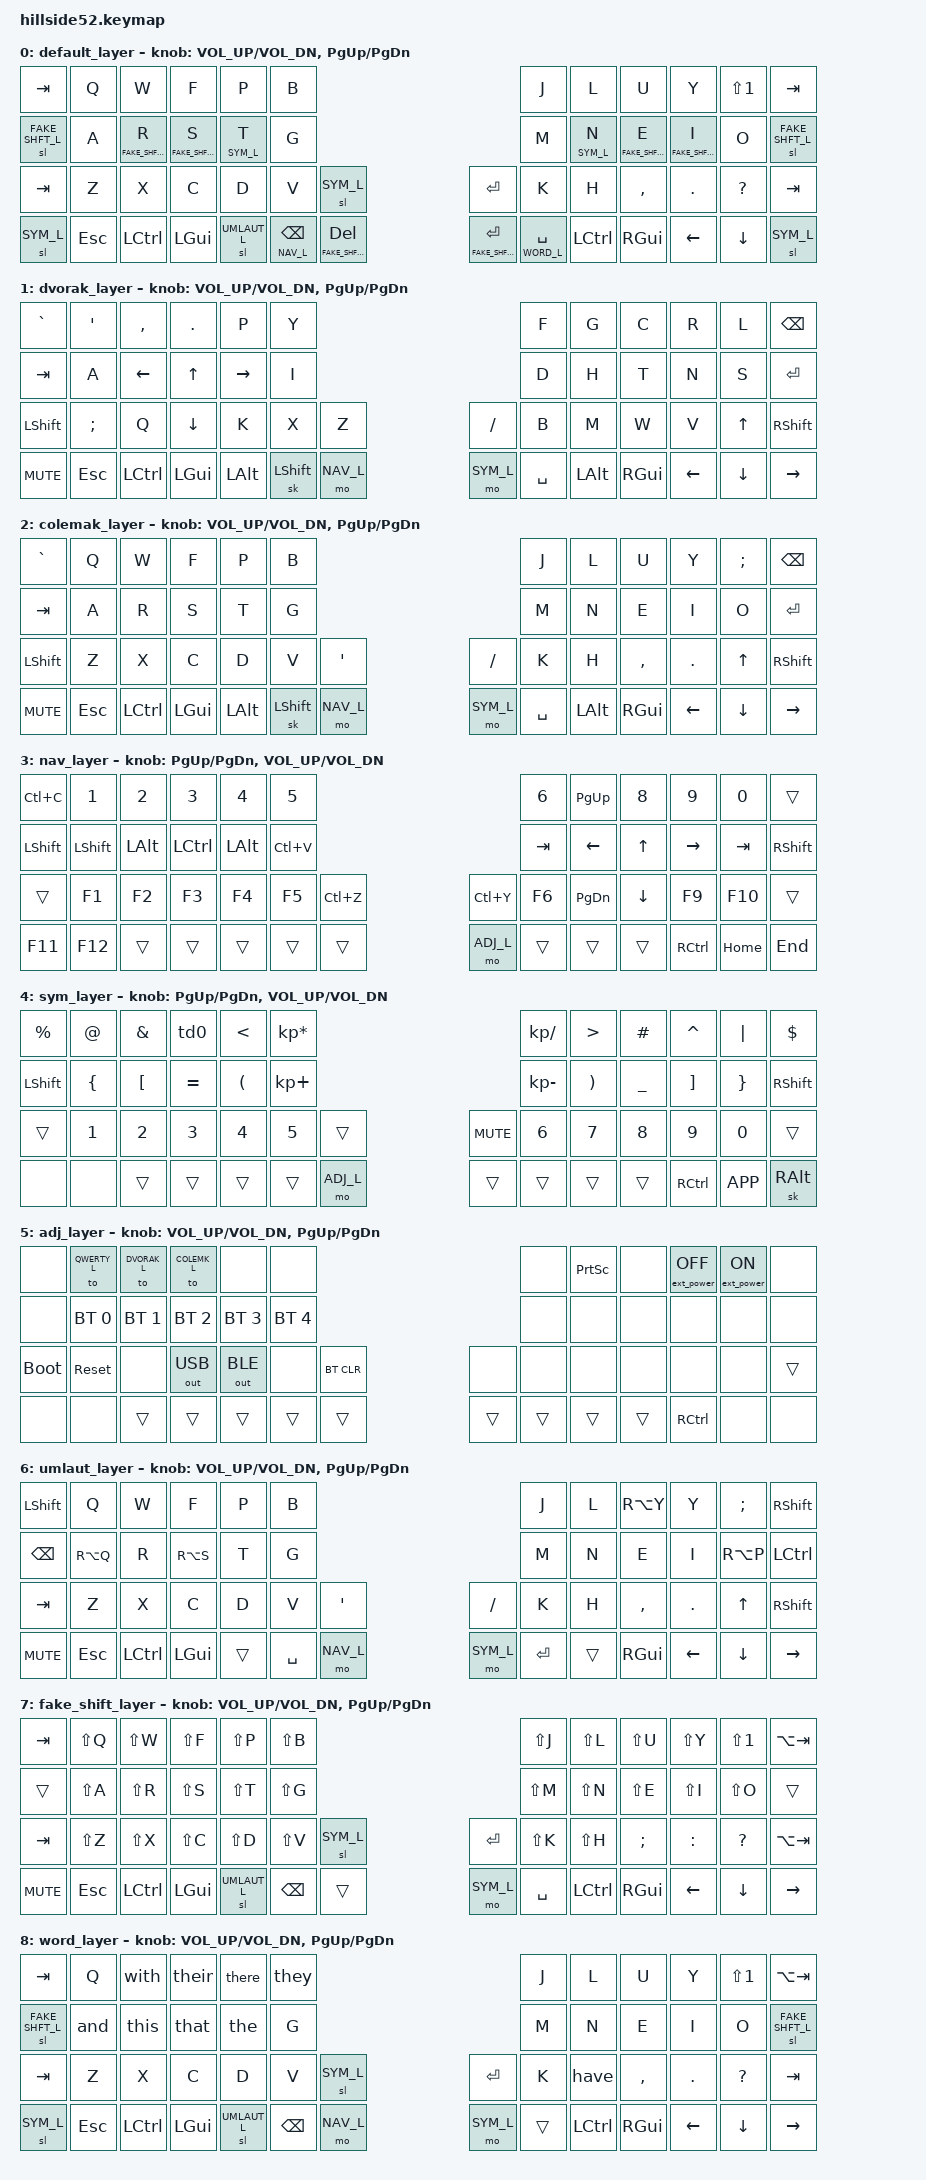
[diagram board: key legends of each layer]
/*
 * Copyright (c) 2021-2022 The ZMK Contributors
 *
 * SPDX-License-Identifier: MIT
 */

#include <behaviors.dtsi>
#include <dt-bindings/zmk/bt.h>
#include <dt-bindings/zmk/ext_power.h>
#include <dt-bindings/zmk/keys.h>
#include <dt-bindings/zmk/outputs.h>

#define QWERTY_L 0
#define DVORAK_L 1
#define COLEMK_L 2
#define NAV_L    3
#define SYM_L    4
#define ADJ_L    5
#define UMLAUT_L 6
#define FAKE_SHFT_L 7
#define WORD_L 8

#define Undo   LC(Z)
#define Cut    LC(X)
#define Copy   LC(C)
#define Paste  LC(V)
#define Redo   LC(Y)


/ {	
	behaviors {
          td0: tap_dance_0 {
            compatible = "zmk,behavior-tap-dance";
            label = "TAP_DANCE_0";
            #binding-cells = <0>;
            tapping-term-ms = <300>;
            bindings = <&kp RA(SQT)>, <&kp LS(RA(SQT))>;
        
        };
        
        lrt: lrt {
        compatible = "zmk,behavior-hold-tap";
        label = "LAYER_RETRO_TAP";
        #binding-cells = <2>;
        flavor = "tap-preferred";
        tapping-term-ms = <200>;
        retro-tap;
        bindings = <&mo>, <&kp>;  // &mo on hold, &kp on tap
    };
        
/*          pht: positional_hold_tap {
            compatible = "zmk,behavior-hold-tap";
            label = "POSITIONAL_HOLD_TAP";
            #binding-cells = <2>;
            flavor = "hold-preferred";
            tapping-term-ms = <400>;
            quick-tap-ms = <200>;
            bindings = <&kp>, <&kp>, <&kp>, <&kp>;
            hold-trigger-key-positions = <19>, <20>, <8>;    // <---[[M N L]]
        };
  */
    };
/*
	combos {
        	compatible = "zmk,combos";
        	combo_copy {
            	timeout-ms = <1000>;
            	key-positions = <14 15 16>;
            	bindings = <&kp LC(C)>;
        	};
        	
        	compatible = "zmk,combos";
        	combo_paste {
            	timeout-ms = <100>;
            	key-positions = <19 20 21>;
            	bindings = <&kp LC(V)>;
        	};
        	
        	compatible = "zmk,combos";
        	combo_undo {
            	timeout-ms = <100>;
            	key-positions = <2 3 4>;
            	bindings = <&kp LC(Z)>;
        	};
    	};
    	*/
    	
	macros {
		zed_em_kay: zed_em_kay {
		    label = "ZM_zed_em_kay";
		    compatible = "zmk,behavior-macro";
		    #binding-cells = <0>;
		    bindings
		        = <&macro_press &kp LSHFT>
		        , <&macro_tap &kp Z &kp M &kp K>
		        , <&macro_release &kp LSHFT>
		        ;
		};
		
		the: the {
		    label = "the";
		    compatible = "zmk,behavior-macro";
		    #binding-cells = <0>;
		    bindings
		        = <&macro_tap &kp T &kp H &kp E>
		        ;
		};
		
		of: of {
		    label = "of";
		    compatible = "zmk,behavior-macro";
		    #binding-cells = <0>;
		    bindings
		        = <&macro_tap &kp O &kp F>
		        ;
		};
		
		in: in {
		    label = "in";
		    compatible = "zmk,behavior-macro";
		    #binding-cells = <0>;
		    bindings
		        = <&macro_tap &kp I &kp N>
		        ;
		};
		
		and: and {
		    label = "and";
		    compatible = "zmk,behavior-macro";
		    #binding-cells = <0>;
		    bindings
		        = <&macro_tap &kp A &kp N &kp D>
		        ;
		};
		
		that: that {
		    label = "that";
		    compatible = "zmk,behavior-macro";
		    #binding-cells = <0>;
		    bindings
		        = <&macro_tap &kp T &kp H &kp A &kp T>
		        ;
		};
		
		this: this {
		    label = "this";
		    compatible = "zmk,behavior-macro";
		    #binding-cells = <0>;
		    bindings
		        = <&macro_tap &kp T &kp H &kp I &kp S>
		        ;
		};
		
		there: there {
		    label = "there";
		    compatible = "zmk,behavior-macro";
		    #binding-cells = <0>;
		    bindings
		        = <&macro_tap &kp T &kp H &kp E &kp R &kp E>
		        ;
		};
		
		their: their {
		    label = "their";
		    compatible = "zmk,behavior-macro";
		    #binding-cells = <0>;
		    bindings
		        = <&macro_tap &kp T &kp H &kp E &kp I &kp R>
		        ;
		};
		
		they: they {
		    label = "they";
		    compatible = "zmk,behavior-macro";
		    #binding-cells = <0>;
		    bindings
		        = <&macro_tap &kp T &kp H &kp E &kp Y>
		        ;
		};
		
		with: with {
		    label = "with";
		    compatible = "zmk,behavior-macro";
		    #binding-cells = <0>;
		    bindings
		        = <&macro_tap &kp W &kp I &kp T &kp H>
		        ;
		};
		
		have: have {
		    label = "have";
		    compatible = "zmk,behavior-macro";
		    #binding-cells = <0>;
		    bindings
		        = <&macro_tap &kp H &kp A &kp V &kp E>
		        ;
		};
		
		m_LPAR: m_LPAR {
		    label = "ZM_m_LPAR";
		    compatible = "zmk,behavior-macro";
		    #binding-cells = <0>;
		    bindings
		        = <&macro_press &kp LSHFT>
		        , <&macro_tap &kp N8>
		        , <&macro_release &kp LSHFT>
		        ;
		};
		
	       };
	               
        keymap {
                compatible = "zmk,keymap";

                default_layer {
/* MODIFIED colemak-DH
 * -------------------------------------------------------------------------------------------------------------------------------------
 * | TAB   |   Q   |   W   |   F   |   P   |   B   |-----------------------------------|   J   |   L   |   U   |   Y   |   ;   | AltTab|
 * | SHIFT |   A   |   R   |   S   |   T   |   G   |-----------------------------------|   M   |   N   |   E   |   I   |   O   | SHIFT |
 * | TAB   |   Z   |   X   |   C   |   D   |   V   | SYM   |-------------------| ENTER |   K   |   H   |   ,   |   .   |   ?   | AltTab|
 * | Mute  |  ESC  | CTRL  |-------|  GUI  |UMLAUT |BKSPC  |  Nav  |---|  Sym  | SPACE | LCTRL |  GUI  |-------| Left  | Down  | Right |
 */
                        bindings = <
&kp TAB    &kp  Q        &kp  W        &kp  F        &kp  P        &kp  B                                                                         &kp  J        &kp  L        &kp  U        &kp  Y        &kp  LS(N1)        &kp TAB
&sl  FAKE_SHFT_L     &kp  A        &lrt FAKE_SHFT_L R        &lrt FAKE_SHFT_L  S        &lrt SYM_L T        &kp  G                                                                         &kp  M        &lrt SYM_L N        &lrt FAKE_SHFT_L  E        &lrt FAKE_SHFT_L I        &kp  O        &sl  FAKE_SHFT_L
&kp  TAB      &kp  Z        &kp  X        &kp  C        &kp  D        &kp  V        &sl  SYM_L                                          &kp  ENTER    &kp  K        &kp  H        &kp  COMMA    &kp  DOT      &kp  QMARK       &kp  TAB
&sl SYM_L   &kp  ESC      &kp  LCTRL                  &kp  LGUI     &sl  UMLAUT_L     &lt NAV_L BSPC    &lt FAKE_SHFT_L DEL            &lrt FAKE_SHFT_L ENTER    &lt WORD_L  SPACE    &kp LCTRL    &kp  RGUI                   &kp  LEFT     &kp  DOWN     &sl SYM_L
                        >;
			
                        sensor-bindings = <&inc_dec_kp C_VOL_UP C_VOL_DN &inc_dec_kp PG_UP PG_DN>;
                };
		
                dvorak_layer {
/* DVORAK
 * -------------------------------------------------------------------------------------------------------------------------------------
 * | `     |   '   |   ,   |   .   |   P   |   Y   |-----------------------------------|   F   |   G   |   C   |   R   |   L   | BKSPC |
 * | TAB   |   A   |   O   |   E   |   U   |   I   |-----------------------------------|   D   |   H   |   T   |   N   |   S   | ENTER |
 * | SHIFT |   ;   |   Q   |   J   |   K   |   X   |   Z   |-------------------|   /   |   B   |   M   |   W   |   V   |  Up   | SHIFT |
 * | Mute  |  ESC  | CTRL  |-------|  GUI  |  ALT  |SK SHFT|  Nav  |---|  Sym  | SPACE |  ALT  |  GUI  |-------| Left  | Down  | Right |
 */
                        bindings = <
&kp  GRAVE    &kp  SQT      &kp  COMMA    &kp  DOT      &kp  P        &kp  Y                                                                         &kp  F        &kp  G        &kp  C        &kp  R        &kp  L        &kp  BSPC
&kp  TAB      &kp  A        &kp  LEFT     &kp  UP       &kp  RIGHT    &kp  I                                                                         &kp  D        &kp  H        &kp  T        &kp  N        &kp  S        &kp  ENTER
&kp  LSHFT    &kp  SEMI     &kp  Q        &kp  DOWN     &kp  K        &kp  X        &kp  Z                                             &kp  SLASH    &kp  B        &kp  M        &kp  W        &kp  V        &kp  UP       &kp  RSHFT
&kp  C_MUTE   &kp  ESC      &kp  LCTRL                  &kp  LGUI     &kp  LALT     &sk  LSHIFT    &mo  NAV_L            &mo  SYM_L    &kp  SPACE    &kp  LALT     &kp  RGUI                   &kp  LEFT     &kp  DOWN     &kp  RIGHT
                        >;
			
                        sensor-bindings = <&inc_dec_kp C_VOL_UP C_VOL_DN &inc_dec_kp PG_UP PG_DN>;
                };
		
                colemak_layer {
/* COLEMAK-DH
 * -------------------------------------------------------------------------------------------------------------------------------------
 * | `     |   Q   |   W   |   F   |   P   |   B   |-----------------------------------|   J   |   L   |   U   |   Y   |   ;   | BKSPC |
 * | TAB   |   A   |   R   |   S   |   T   |   G   |-----------------------------------|   M   |   N   |   E   |   I   |   O   | ENTER |
 * | SHIFT |   Z   |   X   |   C   |   D   |   V   |   '   |-------------------|   /   |   K   |   H   |   ,   |   .   |  Up   | SHIFT |
 * | Mute  |  ESC  | CTRL  |-------|  GUI  |  ALT  |SK SHFT|  Nav  |---|  Sym  | SPACE |  ALT  |  GUI  |-------| Left  | Down  | Right |
 */
                        bindings = <
&kp  GRAVE    &kp  Q        &kp  W        &kp  F        &kp  P        &kp  B                                                                         &kp  J        &kp  L        &kp  U        &kp  Y        &kp  SEMI     &kp  BSPC
&kp  TAB      &kp  A        &kp  R        &kp  S        &kp  T        &kp  G                                                                         &kp  M        &kp  N        &kp  E        &kp  I        &kp  O        &kp  ENTER
&kp  LSHFT    &kp  Z        &kp  X        &kp  C        &kp  D        &kp  V        &kp  SQT                                           &kp  SLASH    &kp  K        &kp  H        &kp  COMMA    &kp  DOT      &kp  UP       &kp  RSHFT
&kp  C_MUTE   &kp  ESC      &kp  LCTRL                  &kp  LGUI     &kp  LALT     &sk  LSHIFT     &mo  NAV_L           &mo  SYM_L    &kp  SPACE    &kp  LALT     &kp  RGUI                   &kp  LEFT     &kp  DOWN     &kp  RIGHT
                        >;
			
                        sensor-bindings = <&inc_dec_kp C_VOL_UP C_VOL_DN &inc_dec_kp PG_UP PG_DN>;
                };

                nav_layer {
/* NAV
 * -------------------------------------------------------------------------------------------------------------------------------------
 * | Copy  |   1   |   2   |   3   |   4   |   5   |-----------------------------------|   6   |   7   |   8   |   9   |   0   | BSPC  |
 * | SHFT  | Shift |  Alt  | Ctrl  | Shift | Paste |-----------------------------------| PG UP |  Left |  Up   | RIGHT | SHFT  | SHFT  |
 * | Shift |  F1   |  F2   |  F3   |  F4   |  F5   |  UnDo |-------------------| ReDo  |  F6   |  F7   |  DOWN |  F9   |  F10  | Shift |
 * | F11   |  F12  |       |-------|       |       |       |       |---| ADJ_L |       |       |       |-------| CTRL  | HOME  |  END  |
 */
                        bindings = <
&kp  Copy     &kp  N1       &kp  N2       &kp  N3       &kp  N4       &kp  N5                                                                        &kp   N6      &kp  PG_UP      &kp   N8      &kp   N9      &kp  N0       &trans
&kp  LSHFT      &kp  LSHFT    &kp  LALT     &kp  LCTRL    &kp  LALT    &kp  Paste                                                                     &kp   TAB   &kp  LEFT    &kp   UP      &kp   RIGHT    &kp  TAB    &kp RSHFT
&trans        &kp  F1       &kp  F2       &kp  F3       &kp  F4       &kp  F5       &kp Undo                                           &kp  Redo     &kp   F6      &kp  PG_DN      &kp   DOWN      &kp   F9      &kp  F10      &trans
&kp  F11      &kp  F12      &trans                      &trans        &trans        &trans        &trans                 &mo ADJ_L     &trans        &trans        &trans                     &kp  RCTRL    &kp  HOME     &kp  END
                        >;
			
                        sensor-bindings = <&inc_dec_kp PG_UP PG_DN &inc_dec_kp C_VOL_UP C_VOL_DN>;
                };

                sym_layer {
/* SYM
 * -------------------------------------------------------------------------------------------------------------------------------------
 * | SHIFT |   @   |   &   |   '   |   <   |   *   |-----------------------------------|   /   |   >   |   #   |  ^    |   |   | DELETE|
 * | CAPS  |   {   |   [   |   =   |   (   |   +   |-----------------------------------| -     | )     | _     |  ]    |   }   | $     |
 * | TAB   |   1   |   2   |   3   |   4   |   5   | Play  |-------------------| Mute  | 6     |  7    |  8    |  9    |   0   | SHIFT |
 * |       |       |       |-------|       |       |       |  ADJ_L |---|      |       |       |       |-------| CTRL  | MENU  |SkAltGr|
 */
                        bindings = <
&kp PERCENT      &kp  AT    &kp  AMPS   &td0 &kp LT &kp  KP_MULTIPLY                                                                     &kp  KP_SLASH    &kp GT &kp  HASH    &kp  CARET    &kp  PIPE     &kp  DOLLAR
&kp LSHFT    &kp  LBRC    &kp  LBKT    &kp  EQUAL    &kp  LPAR    &kp  KP_PLUS                                                                   &kp KP_MINUS  &kp  RPAR    &kp  UNDER    &kp  RBKT   &kp  RBRC     &kp RSHFT
&trans        &kp  N1     &kp  N2     &kp  N3     &kp  N4     &kp  N5     &trans                                          &kp C_MUTE    &kp N6  &kp  N7       &kp  N8       &kp  N9     &kp N0         &trans
&none         &none         &trans                      &trans        &trans        &trans        &mo  ADJ_L               &trans      &trans        &trans        &trans                      &kp  RCTRL    &kp  K_APP    &sk  RALT
                        >;
			
                        sensor-bindings = <&inc_dec_kp PG_UP PG_DN &inc_dec_kp C_VOL_UP C_VOL_DN>;
                };
		

                adj_layer {
/* ADJUST
 * -------------------------------------------------------------------------------------------------------------------------------------
 * |       | QWERTY| DVORAK| COLEMK|       |       |-----------------------------------|       |Prt Scr|       | EP_OFF| EP_ON |       |
 * |       | BT 0  | BT 1  | BT 2  | BT 3  | BT 4  |-----------------------------------|       |       |       |       |       |       |
 * | BOOTL | RESET |       |OUT_USB|OUT_BLE|       |BT CLR |-------------------|       |       |       |       |       |       | SHIFT |
 * ----------------|       |-------|       |       |       |       |---|       |       |       |       |-------| CTRL  |----------------
 */
                        bindings = <
&none         &to  QWERTY_L &to  DVORAK_L &to  COLEMK_L &none         &none                                                                             &none             &kp PRINTSCREEN    &none         &ext_power EP_OFF  &ext_power EP_ON &none
&none         &bt  BT_SEL 0 &bt  BT_SEL 1 &bt  BT_SEL 2 &bt  BT_SEL 3 &bt  BT_SEL 4                                                                     &none             &none              &none            &none           &none            &none
&bootloader   &sys_reset    &none         &out OUT_USB  &out OUT_BLE  &none         &bt BT_CLR                                         &none            &none             &none              &none            &none           &none            &trans
&none         &none         &trans                      &trans        &trans        &trans        &trans                 &trans        &trans           &trans            &trans                              &kp  RCTRL      &none            &none
                        >;
			
                        sensor-bindings = <&inc_dec_kp C_VOL_UP C_VOL_DN &inc_dec_kp PG_UP PG_DN>;
                };
                
                umlaut_layer {
/* MODIFIED colemak-DH
 * -------------------------------------------------------------------------------------------------------------------------------------
 * | SHIFT |   Q   |   W   |   F   |   P   |   B   |-----------------------------------|   J   |   L   |   Ü   |   Y   |   ;   | SHIFT 
 * | BKSPC |   Ä   |   R   |   S   |   T   |   G   |-----------------------------------|   M   |   N   |   E   |   I   |   Ö   | LCTRL |
 * | TAB   |   Z   |   X   |   C   |   D   |   V   |   '   |-------------------|   /   |   K   |   H   |   ,   |   .   |  Up   | SHIFT |
 * | Mute  |  ESC  | CTRL  |-------|  GUI  |  ALT  |SPACE  |  Nav  |---|  Sym  | ENTER |  ALT  |  GUI  |-------| Left  | Down  | Right |
 */
                        bindings = <
&kp  LSHFT    &kp  Q        &kp  W        &kp  F        &kp  P        &kp  B                                                                         &kp  J        &kp  L        &kp  RA(Y)        &kp  Y        &kp  SEMI        &kp  RSHFT
&kp  BSPC     &kp  RA(Q)        &kp  R        &kp  RA(S)        &kp  T        &kp  G                                                                         &kp  M        &kp  N        &kp  E        &kp  I        &kp  RA(P)        &kp  LCTRL
&kp  TAB      &kp  Z        &kp  X        &kp  C        &kp  D        &kp  V        &kp  SQT                                           &kp  SLASH    &kp  K        &kp  H        &kp  COMMA    &kp  DOT      &kp  UP       &kp  RSHFT
&kp  C_MUTE   &kp  ESC      &kp  LCTRL                  &kp  LGUI     &trans     &kp  SPACE    &mo  NAV_L            &mo  SYM_L    &kp  ENTER    &trans     &kp  RGUI                   &kp  LEFT     &kp  DOWN     &kp  RIGHT
                        >;
			
                        sensor-bindings = <&inc_dec_kp C_VOL_UP C_VOL_DN &inc_dec_kp PG_UP PG_DN>;
                };
                
                fake_shift_layer {
/* MODIFIED colemak-DH
 * -------------------------------------------------------------------------------------------------------------------------------------
 * | TAB   |   Q   |   W   |   F   |   P   |   B   |-----------------------------------|   J   |   L   |   U   |   Y   |   !   | SHIFT |
 * | SHIFT |   A   |   R   |   S   |   T   |   G   |-----------------------------------|   M   |   N   |   E   |   I   |   O   | SHIFT |
 * | TAB   |   Z   |   X   |   C   |   D   |   V   | SYM   |-------------------| ENTER |   K   |   H   |   ;   |   :   |   ?   | SHIFT |
 * | Mute  |  ESC  | CTRL  |-------|  GUI  |UMLAUT |BKSPC  |  Nav  |---|  Sym  | SPACE | LCTRL |  GUI  |-------| Left  | Down  | Right |
 */
                        bindings = <
&kp TAB    &kp  LS(Q)        &kp  LS(W)        &kp  LS(F)        &kp  LS(P)        &kp  LS(B)                                                                         &kp  LS(J)        &kp  LS(L)        &kp  LS(U)        &kp  LS(Y)        &kp  LS(N1)        &kp  LA(TAB)
&trans     &kp  LS(A)        &kp  LS(R)        &kp  LS(S)        &kp  LS(T)        &kp  LS(G)                                                                         &kp  LS(M)        &kp  LS(N)        &kp  LS(E)        &kp  LS(I)        &kp  LS(O)        &trans
&kp  TAB      &kp  LS(Z)        &kp  LS(X)        &kp  LS(C)        &kp  LS(D)        &kp  LS(V)        &sl  SYM_L                                          &kp  ENTER    &kp  LS(K)        &kp  LS(H)        &kp  SEMI    &kp  COLON      &kp  QMARK       &kp  LA(TAB)
&kp  C_MUTE   &kp  ESC      &kp  LCTRL                  &kp  LGUI     &sl  UMLAUT_L     &kp  BSPC    &trans            &mo  SYM_L    &kp  SPACE    &kp LCTRL    &kp  RGUI                   &kp  LEFT     &kp  DOWN     &kp  RIGHT
                        >;
			
                        sensor-bindings = <&inc_dec_kp C_VOL_UP C_VOL_DN &inc_dec_kp PG_UP PG_DN>;
                };
                
                word_layer {
/* MODIFIED colemak-DH
 * -------------------------------------------------------------------------------------------------------------------------------------
 * | TAB   |   Q   |   W   |   F   |   P   |   B   |-----------------------------------|   J   |   L   |   U   |   Y   |   ;   | AltTab|
 * | SHIFT |   A   |   R   |   S   |   T   |   G   |-----------------------------------|   M   |   N   |   E   |   I   |   O   | SHIFT |
 * | TAB   |   Z   |   X   |   C   |   D   |   V   | SYM   |-------------------| ENTER |   K   |   H   |   ,   |   .   |   ?   | AltTab|
 * | Mute  |  ESC  | CTRL  |-------|  GUI  |UMLAUT |BKSPC  |  Nav  |---|  Sym  | SPACE | LCTRL |  GUI  |-------| Left  | Down  | Right |
 */
                        bindings = <
&kp TAB    &kp  Q        &with        &their        &there       &they                                                                         &kp  J        &kp  L        &kp  U        &kp  Y        &kp  LS(N1)        &kp  LA(TAB)
&sl  FAKE_SHFT_L     &and        &this        &that        &the        &kp  G                                                                         &kp  M        &kp  N        &kp  E        &kp  I        &kp  O        &sl  FAKE_SHFT_L
&kp  TAB      &kp  Z        &kp  X        &kp  C        &kp  D        &kp  V        &sl  SYM_L                                          &kp  ENTER    &kp  K        &have       &kp  COMMA    &kp  DOT      &kp  QMARK       &kp  TAB
&sl SYM_L   &kp  ESC      &kp  LCTRL                  &kp  LGUI     &sl  UMLAUT_L     &kp  BSPC    &mo  NAV_L            &mo  SYM_L    &trans     &kp LCTRL    &kp  RGUI                   &kp  LEFT     &kp  DOWN     &kp  RIGHT
                        >;
			
                        sensor-bindings = <&inc_dec_kp C_VOL_UP C_VOL_DN &inc_dec_kp PG_UP PG_DN>;
                };
        };
};
